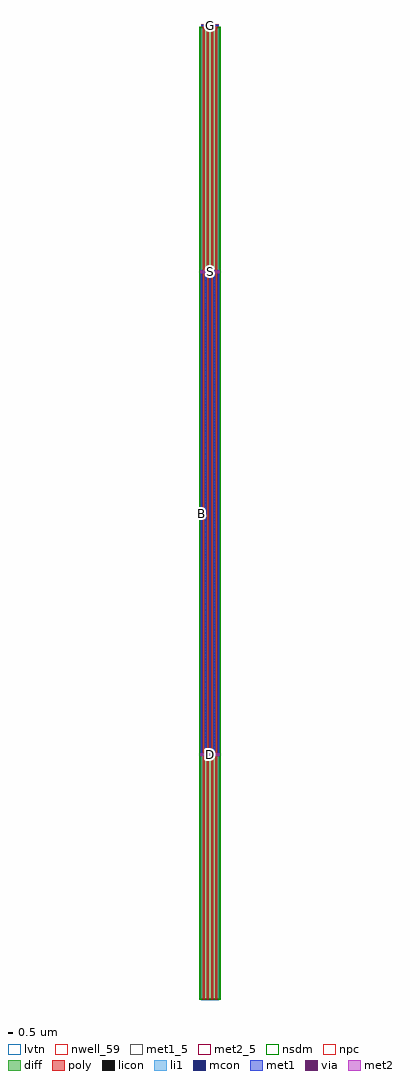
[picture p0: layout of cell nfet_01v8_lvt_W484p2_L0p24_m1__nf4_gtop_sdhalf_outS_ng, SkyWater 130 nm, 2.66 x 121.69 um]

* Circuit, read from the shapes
.subckt nfet_01v8_lvt_W484p2_L0p24_m1__nf4_gtop_sdhalf_outS_ng B D G S
XM1 D G S B sky130_fd_pr__nfet_01v8_lvt w=121.05 l=0.24 m=4
.ends

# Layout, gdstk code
import gdstk
lib = gdstk.Library(unit=1e-6, precision=1e-09)
def R(c, l, rs):  # rectangles x0, y0, x1, y1
    for r in rs: c.add(gdstk.rectangle(r[:2], r[2:], *l))
def A(c, l, x, y, w, h, nx, ny, dx, dy):  # array of equal rectangles
    R(c, l, [(x+i*dx, y+j*dy, x+i*dx+w, y+j*dy+h) for i in range(nx) for j in range(ny)])
nwell_59 = (64, 59)
diff = (65, 20)
poly = (66, 20)
licon = (66, 44)
li1 = (67, 20)
mcon = (67, 44)
met1_5 = (68, 5)
met1 = (68, 20)
via = (68, 44)
met2_5 = (69, 5)
met2 = (69, 20)
nsdm = (93, 44)
npc = (95, 20)
lvtn = (125, 44)

sky130_fd_pr__nfet_01v8_ = lib.new_cell('sky130_fd_pr__nfet_01v8_lvt_BL5572')
R(sky130_fd_pr__nfet_01v8_, diff, [(-1.205,-60.68,1.205,60.37)])
A(sky130_fd_pr__nfet_01v8_, poly, -0.915, -60.81, 0.24, 121.29, 4, 1, 0.53, 0)
R(sky130_fd_pr__nfet_01v8_, poly, [(-1.06,60.48,1.06,60.81)])
A(sky130_fd_pr__nfet_01v8_, licon, -1.145, -30.33, 0.17, 0.17, 5, 178, 0.53, 0.34)
A(sky130_fd_pr__nfet_01v8_, licon, -0.88, 60.56, 0.17, 0.17, 4, 1, 0.53, 0)
A(sky130_fd_pr__nfet_01v8_, li1, -1.145, -30.47, 0.17, 60.63, 5, 1, 0.53, 0)
R(sky130_fd_pr__nfet_01v8_, li1, [(-1.06,60.56,1.06,60.73)])
A(sky130_fd_pr__nfet_01v8_, mcon, -1.145, -30.3, 0.17, 0.17, 5, 168, 0.53, 0.36)
A(sky130_fd_pr__nfet_01v8_, mcon, -0.88, 60.56, 0.17, 0.17, 4, 1, 0.53, 0)
A(sky130_fd_pr__nfet_01v8_, met1, -1.175, -30.45, 0.23, 60.59, 5, 1, 0.53, 0)
A(sky130_fd_pr__nfet_01v8_, met1, -0.94, 60.53, 0.29, 0.03, 4, 2, 0.53, 0.2)
R(sky130_fd_pr__nfet_01v8_, met1, [(-1.06,60.56,1.06,60.73)])
R(sky130_fd_pr__nfet_01v8_, nsdm, [(-1.33,-60.805,1.33,60.495)])
R(sky130_fd_pr__nfet_01v8_, npc, [(-0.98,60.46,0.98,60.83)])
R(sky130_fd_pr__nfet_01v8_, lvtn, [(-1.095,-60.86,1.095,60.55)])
sky130_fd_pr__nfet_01v8_.add(gdstk.Label('D0', (-1.06,-0.155), layer=67, texttype=5))
sky130_fd_pr__nfet_01v8_.add(gdstk.Label('G', (0.795,60.645), layer=67, texttype=5))
sky130_fd_pr__nfet_01v8_.add(gdstk.Label('G', (0.265,60.645), layer=67, texttype=5))
sky130_fd_pr__nfet_01v8_.add(gdstk.Label('G', (-0.265,60.645), layer=67, texttype=5))
sky130_fd_pr__nfet_01v8_.add(gdstk.Label('G', (-0.795,60.645), layer=67, texttype=5))
sky130_fd_pr__nfet_01v8_.add(gdstk.Label('S1', (-0.53,-0.155), layer=67, texttype=5))
sky130_fd_pr__nfet_01v8_.add(gdstk.Label('D2', (0,-0.155), layer=67, texttype=5))
sky130_fd_pr__nfet_01v8_.add(gdstk.Label('S3', (0.53,-0.155), layer=67, texttype=5))

nfet_01v8_lvt_w484p2_l0p = lib.new_cell('nfet_01v8_lvt_W484p2_L0p24_m1__nf4_gtop_sdhalf_outS_ng')
R(nfet_01v8_lvt_w484p2_l0p, nwell_59, [(0.05,60.605,0.15,60.705)])
R(nfet_01v8_lvt_w484p2_l0p, met1_5, [(0.145,121.34,2.265,121.57)])
A(nfet_01v8_lvt_w484p2_l0p, met1, 0.015, 90.58, 0.26, 0.32, 3, 1, 1.06, 0)
R(nfet_01v8_lvt_w484p2_l0p, met1, [(0.545,30.41,0.805,30.73), (1.605,30.41,1.865,30.73), (0.145,121.34,2.265,121.57)])
A(nfet_01v8_lvt_w484p2_l0p, via, 0.07, 90.665, 0.15, 0.15, 3, 1, 1.06, 0)
R(nfet_01v8_lvt_w484p2_l0p, via, [(0.6,30.495,0.75,30.645), (1.66,30.495,1.81,30.645)])
R(nfet_01v8_lvt_w484p2_l0p, met2_5, [(0.01,30.41,2.4,30.73), (0.01,90.58,2.4,90.9)])
R(nfet_01v8_lvt_w484p2_l0p, met2, [(0.01,30.41,2.4,30.73), (0.01,90.58,2.4,90.9)])
nfet_01v8_lvt_w484p2_l0p.add(gdstk.Reference(sky130_fd_pr__nfet_01v8_, (1.205,60.81)))
nfet_01v8_lvt_w484p2_l0p.add(gdstk.Label('S', (1.205,90.74), layer=69, texttype=5))
nfet_01v8_lvt_w484p2_l0p.add(gdstk.Label('D', (1.205,30.57), layer=69, texttype=5))
nfet_01v8_lvt_w484p2_l0p.add(gdstk.Label('G', (1.205,121.455), layer=68, texttype=5))
nfet_01v8_lvt_w484p2_l0p.add(gdstk.Label('B', (0.1,60.655), layer=64, texttype=59))

lib.write_gds('nfet_01v8_lvt_W484p2_L0p24_m1__nf4_gtop_sdhalf_outS_ng.gds')
